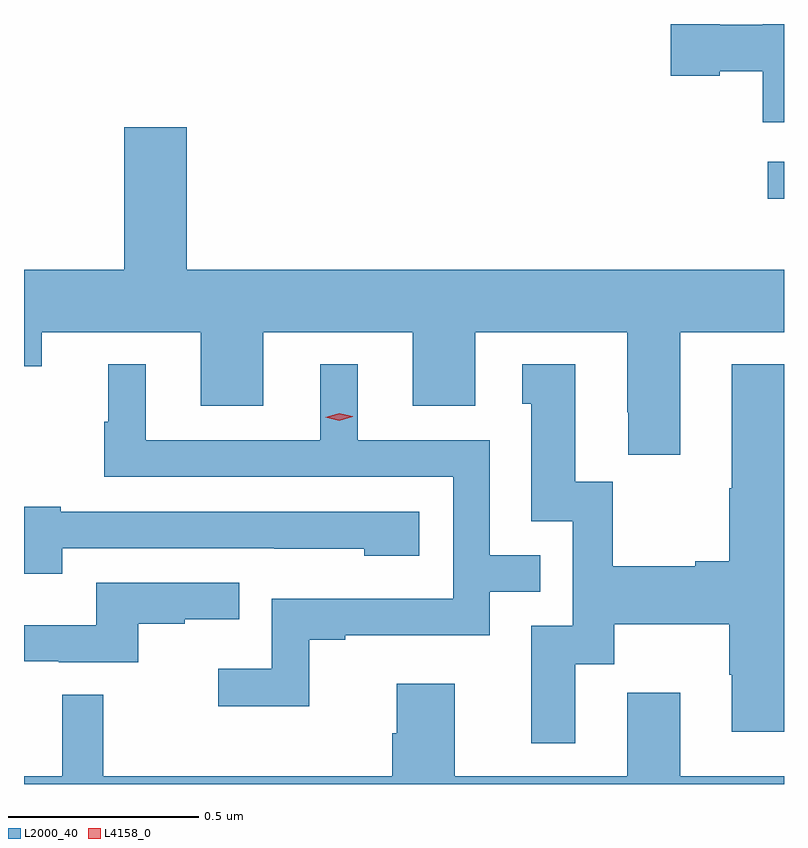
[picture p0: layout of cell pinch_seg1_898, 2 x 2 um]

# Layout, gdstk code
import gdstk
lib = gdstk.Library(unit=1e-6, precision=1e-09)
def R(c, l, rs):  # rectangles x0, y0, x1, y1
    for r in rs: c.add(gdstk.rectangle(r[:2], r[2:], *l))
def P(c, l, *ps):  # polygons
    for p in ps: c.add(gdstk.Polygon(p, *l))
L2000_40 = (2000, 40)
L4158_0 = (4158, 0)

pinch_seg1_898 = lib.new_cell('pinch_seg1_898')
R(pinch_seg1_898, L2000_40, [(622.245,528.107,622.288,528.204)])
P(pinch_seg1_898, L2000_40, [(622.288,528.567),(622.232,528.567),(622.232,528.565),(622.119,528.565),(622.119,528.567),(621.99,528.567),(621.99,528.431),(622.119,528.431),(622.119,528.443),(622.232,528.443),(622.232,528.308),(622.288,528.308)],
  [(622.015,527.756),(622.288,527.756),(622.288,527.92),(620.716,527.92),(620.716,528.295),(620.552,528.295),(620.552,527.92),(620.288,527.92),(620.288,527.666),(620.335,527.666),(620.335,527.756),(620.753,527.756),(620.753,527.562),(620.917,527.562),(620.917,527.756),(621.311,527.756),(621.311,527.562),(621.475,527.562),(621.475,527.756),(621.875,527.756),(621.875,527.545),(621.878,527.545),(621.878,527.433),(622.015,527.433)],
  [(621.039,526.947),(621.133,526.947),(621.133,526.959),(621.513,526.959),(621.513,527.073),(621.647,527.073),(621.647,527.169),(621.513,527.169),(621.513,527.472),(621.166,527.472),(621.166,527.671),(621.068,527.671),(621.068,527.472),(620.608,527.472),(620.608,527.671),(620.51,527.671),(620.51,527.52),(620.499,527.52),(620.499,527.376),(621.417,527.376),(621.417,527.055),(620.94,527.055),(620.94,526.87),(620.799,526.87),(620.799,526.772),(621.039,526.772)],
  [(621.739,526.882),(621.841,526.882),(621.841,526.988),(622.144,526.988),(622.144,526.854),(622.151,526.854),(622.151,526.704),(622.288,526.704),(622.288,527.671),(622.151,527.671),(622.151,527.345),(622.144,527.345),(622.144,527.153),(622.055,527.153),(622.055,527.14),(621.837,527.14),(621.837,527.363),(621.739,527.363),(621.739,527.671),(621.599,527.671),(621.599,527.568),(621.623,527.568),(621.623,527.259),(621.732,527.259),(621.732,526.983),(621.623,526.983),(621.623,526.674),(621.739,526.674)],
  [(620.389,527.187),(620.947,527.187),(620.947,527.186),(621.183,527.186),(621.183,527.168),(621.328,527.168),(621.328,527.283),(620.385,527.283),(620.385,527.296),(620.288,527.296),(620.288,527.12),(620.389,527.12)],
  [(620.588,526.989),(620.711,526.989),(620.711,527),(620.855,527),(620.855,527.097),(620.478,527.097),(620.478,526.985),(620.288,526.985),(620.288,526.89),(620.38,526.89),(620.38,526.887),(620.588,526.887)],
  [(621.269,526.831),(621.269,526.701),(621.257,526.701),(621.257,526.588),(620.497,526.588),(620.497,526.802),(620.388,526.802),(620.388,526.588),(620.288,526.588),(620.288,526.567),(622.288,526.567),(622.288,526.588),(622.015,526.588),(622.015,526.807),(621.875,526.807),(621.875,526.588),(621.421,526.588),(621.421,526.831)])
P(pinch_seg1_898, L4158_0, [(621.117,527.523),(621.081,527.532),(621.081,527.532),(621.081,527.532),(621.117,527.543),(621.153,527.535),(621.153,527.535),(621.153,527.534)])

lib.write_gds('pinch_seg1_898.gds')
